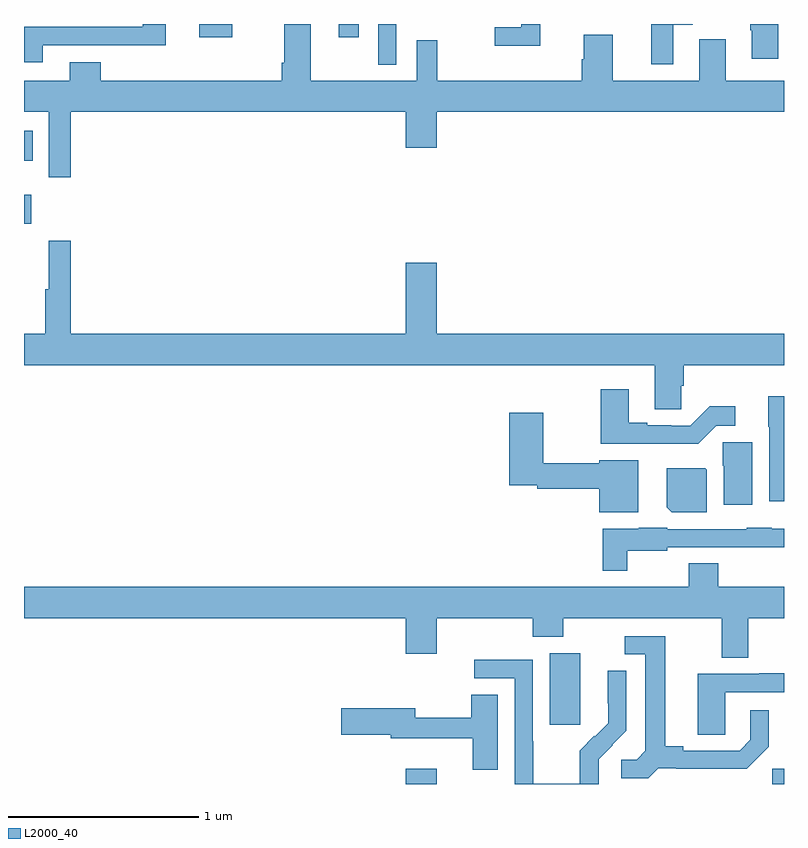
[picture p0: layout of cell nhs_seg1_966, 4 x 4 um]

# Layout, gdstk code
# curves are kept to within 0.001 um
import gdstk
lib = gdstk.Library(unit=1e-6, precision=1e-09)
def R(c, l, rs):  # rectangles x0, y0, x1, y1
    for r in rs: c.add(gdstk.rectangle(r[:2], r[2:], *l))
def P(c, l, *ps):  # polygons
    for p in ps: c.add(gdstk.Polygon(p, *l))
L2000_40 = (2000, 40)

nhs_seg1_966 = lib.new_cell('nhs_seg1_966')
R(nhs_seg1_966, L2000_40, [(165.008,544.199,165.172,544.279), (166.938,544.199,167,544.278), (165.767,544.512,165.928,544.888), (163,547.148,163.039,547.3), (163,547.478,163.046,547.636), (164.865,547.985,164.958,548.199), (163.923,548.13,164.095,548.199), (164.657,548.13,164.761,548.199)])
P(nhs_seg1_966, L2000_40, [(166.417,548.194),(166.519,548.194),(166.519,548.199),(166.301,548.199),(166.301,547.986),(166.417,547.986)],
  [(163.099,548.088),(163.529,548.088),(163.529,548.087),(163.747,548.087),(163.747,548.199),(163.626,548.199),(163.626,548.184),(163,548.184),(163,547.998),(163.099,547.998)],
  [(166.969,548.199),(166.822,548.199),(166.822,548.166),(166.829,548.166),(166.829,548.016),(166.969,548.016)],
  [(165.717,548.199),(165.618,548.199),(165.618,548.182),(165.477,548.182),(165.477,548.084),(165.717,548.084)],
  [(163.247,547.736),(165.008,547.736),(165.008,547.548),(165.172,547.548),(165.172,547.736),(167,547.736),(167,547.9),(166.693,547.9),(166.693,548.119),(166.553,548.119),(166.553,547.9),(166.099,547.9),(166.099,548.143),(165.947,548.143),(165.947,548.013),(165.935,548.013),(165.935,547.9),(165.175,547.9),(165.175,548.114),(165.066,548.114),(165.066,547.9),(164.509,547.9),(164.509,548.199),(164.369,548.199),(164.369,547.996),(164.357,547.996),(164.357,547.9),(163.405,547.9),(163.405,547.999),(163.241,547.999),(163.241,547.9),(163,547.9),(163,547.736),(163.131,547.736),(163.131,547.392),(163.247,547.392)],
  [(166.458,546.294),(166.472,546.294),(166.472,546.404),(167,546.404),(167,546.568),(165.172,546.568),(165.172,546.943),(165.008,546.943),(165.008,546.568),(163.247,546.568),(163.247,547.057),(163.13,547.057),(163.13,546.804),(163.111,546.804),(163.111,546.568),(163,546.568),(163,546.404),(166.319,546.404),(166.319,546.172),(166.458,546.172)],
  [(166.644,546.084),(166.744,546.084),(166.744,546.187),(166.609,546.187),(166.506,546.084),(166.406,546.084),(166.406,546.087),(166.279,546.087),(166.279,546.1),(166.183,546.1),(166.183,546.277),(166.036,546.277),(166.036,545.99),(166.549,545.99)],
  [(167,546.241),(166.916,546.241),(166.916,546.078),(166.922,546.078),(166.922,545.688),(167,545.688)],
  [(166.234,545.902),(166.028,545.902),(166.028,545.888),(165.732,545.888),(165.732,546.154),(165.554,546.154),(165.554,545.772),(165.7,545.772),(165.7,545.752),(166.028,545.752),(166.028,545.63),(166.234,545.63)],
  [(166.834,545.997),(166.678,545.997),(166.678,545.874),(166.682,545.874),(166.682,545.67),(166.834,545.67)],
  [(166.594,545.852),(166.586,545.86),(166.382,545.86),(166.382,545.656),(166.408,545.63),(166.594,545.63)],
  [(166.174,545.426),(166.386,545.426),(166.386,545.445),(166.803,545.445),(166.803,545.444),(167,545.444),(167,545.542),(166.935,545.542),(166.935,545.548),(166.803,545.548),(166.803,545.541),(166.386,545.541),(166.386,545.548),(166.236,545.548),(166.236,545.542),(166.045,545.542),(166.045,545.321),(166.174,545.321)],
  [(163,545.072),(165.008,545.072),(165.008,544.884),(165.172,544.884),(165.172,545.072),(165.677,545.072),(165.677,544.973),(165.837,544.973),(165.837,545.072),(166.673,545.072),(166.673,544.864),(166.813,544.864),(166.813,545.072),(167,545.072),(167,545.236),(166.653,545.236),(166.653,545.36),(166.498,545.36),(166.498,545.236),(163,545.236)],
  [(166.338,544.281),(166.432,544.281),(166.432,544.278),(166.804,544.278),(166.92,544.394),(166.92,544.588),(166.823,544.588),(166.823,544.431),(166.766,544.374),(166.471,544.374),(166.471,544.397),(166.375,544.397),(166.375,544.977),(166.161,544.977),(166.161,544.881),(166.271,544.881),(166.271,544.373),(166.224,544.326),(166.143,544.326),(166.143,544.229),(166.286,544.229)],
  [(166.026,544.233),(166.024,544.233),(166.024,544.33),(166.17,544.478),(166.17,544.796),(166.073,544.796),(166.073,544.624),(166.076,544.624),(166.076,544.52),(166.005,544.449),(166.002,544.452),(165.925,544.375),(165.925,544.201),(165.681,544.201),(165.681,544.424),(165.678,544.424),(165.678,544.854),(165.369,544.854),(165.369,544.755),(165.582,544.755),(165.582,544.199),(166.026,544.199)],
  [(166.692,544.683),(167,544.683),(167,544.783),(166.871,544.783),(166.871,544.779),(166.547,544.779),(166.547,544.459),(166.692,544.459)],
  [(165.493,544.67),(165.355,544.67),(165.355,544.549),(165.058,544.549),(165.058,544.599),(164.67,544.599),(164.67,544.457),(164.93,544.457),(164.93,544.439),(165.362,544.439),(165.362,544.273),(165.493,544.273)])

lib.write_gds('nhs_seg1_966.gds')
